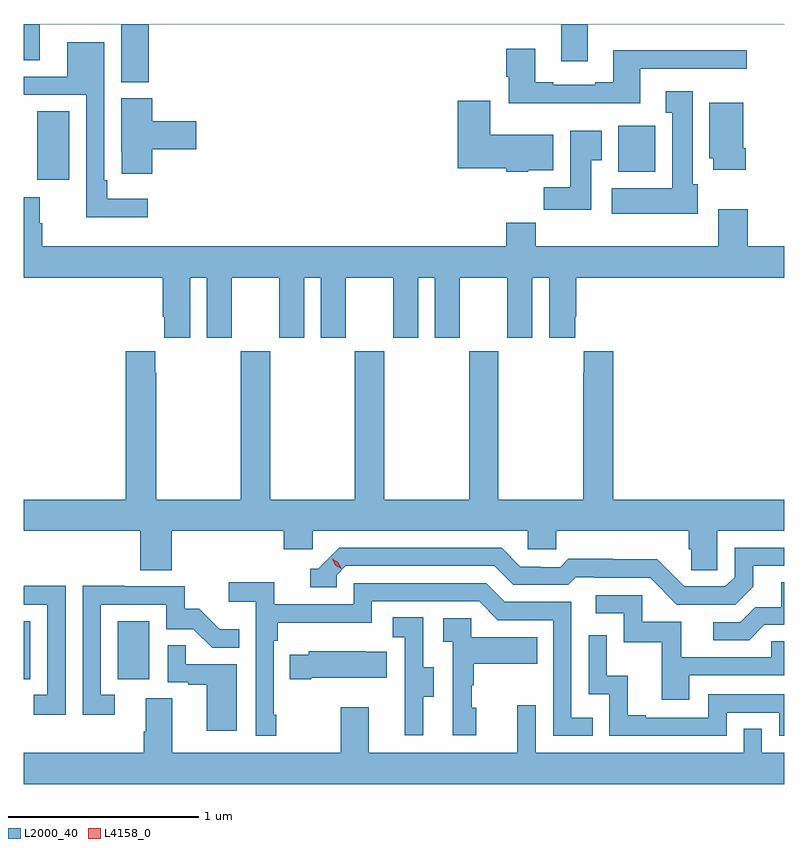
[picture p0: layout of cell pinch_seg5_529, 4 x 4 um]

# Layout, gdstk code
import gdstk
lib = gdstk.Library(unit=1e-6, precision=1e-09)
def R(c, l, rs):  # rectangles x0, y0, x1, y1
    for r in rs: c.add(gdstk.rectangle(r[:2], r[2:], *l))
def P(c, l, *ps):  # polygons
    for p in ps: c.add(gdstk.Polygon(p, *l))
L2000_40 = (2000, 40)
L4158_0 = (4158, 0)

pinch_seg5_529 = lib.new_cell('pinch_seg5_529')
R(pinch_seg5_529, L2000_40, [(956.477,838.662,956.512,838.969), (956.972,838.662,957.136,838.969), (956.549,841.29,956.716,841.652), (959.603,841.334,959.8,841.576)])
P(pinch_seg5_529, L2000_40, [(959.303,841.914),(959.443,841.914),(959.443,842.108),(960.477,842.108),(960.477,842.11),(956.477,842.11),(956.477,841.918),(956.56,841.918),(956.56,842.108),(956.99,842.108),(956.99,841.804),(957.134,841.804),(957.134,842.108),(959.303,842.108)],
  [(957.13,841.192),(956.917,841.192),(956.917,841.288),(956.901,841.288),(956.901,842.014),(956.705,842.014),(956.705,841.833),(956.477,841.833),(956.477,841.737),(956.805,841.737),(956.805,841.094),(957.13,841.094)],
  [(959.719,841.875),(960.28,841.875),(960.28,841.972),(959.579,841.972),(959.579,841.804),(959.483,841.804),(959.483,841.791),(959.263,841.791),(959.263,841.804),(959.167,841.804),(959.167,841.981),(959.015,841.981),(959.015,841.833),(959.027,841.833),(959.027,841.694),(959.719,841.694)],
  [(960.022,841.266),(959.995,841.266),(959.995,841.756),(959.855,841.756),(959.855,841.643),(959.888,841.643),(959.888,841.246),(959.571,841.246),(959.571,841.112),(960.022,841.112)],
  [(957.152,841.451),(957.385,841.451),(957.385,841.598),(957.152,841.598),(957.152,841.719),(956.99,841.719),(956.99,841.435),(956.991,841.435),(956.991,841.323),(957.152,841.323)],
  [(959.13,841.34),(959.263,841.34),(959.263,841.528),(958.93,841.528),(958.93,841.705),(958.76,841.705),(958.76,841.352),(959.016,841.352),(959.016,841.334),(959.13,841.334)],
  [(960.275,841.456),(960.262,841.456),(960.262,841.696),(960.083,841.696),(960.083,841.404),(960.104,841.404),(960.104,841.344),(960.275,841.344)],
  [(959.461,841.393),(959.518,841.393),(959.518,841.549),(959.351,841.549),(959.351,841.252),(959.212,841.252),(959.212,841.134),(959.461,841.134)],
  [(957.352,840.776),(957.44,840.776),(957.44,840.459),(957.571,840.459),(957.571,840.776),(957.821,840.776),(957.821,840.459),(957.952,840.459),(957.952,840.776),(958.04,840.776),(958.04,840.459),(958.171,840.459),(958.171,840.776),(958.421,840.776),(958.421,840.459),(958.552,840.459),(958.552,840.776),(958.64,840.776),(958.64,840.459),(958.771,840.459),(958.771,840.776),(959.021,840.776),(959.021,840.459),(959.152,840.459),(959.152,840.776),(959.24,840.776),(959.24,840.459),(959.377,840.459),(959.377,840.571),(959.384,840.571),(959.384,840.776),(960.477,840.776),(960.477,840.94),(960.284,840.94),(960.284,841.135),(960.131,841.135),(960.131,840.94),(959.171,840.94),(959.171,841.064),(959.015,841.064),(959.015,840.94),(956.573,840.94),(956.573,841.061),(956.56,841.061),(956.56,841.198),(956.477,841.198),(956.477,840.776),(957.209,840.776),(957.209,840.571),(957.215,840.571),(957.215,840.459),(957.352,840.459)],
  [(957.254,839.444),(957.845,839.444),(957.845,839.346),(957.996,839.346),(957.996,839.444),(959.127,839.444),(959.127,839.346),(959.277,839.346),(959.277,839.444),(959.975,839.444),(959.975,839.346),(959.989,839.346),(959.989,839.236),(960.126,839.236),(960.126,839.444),(960.477,839.444),(960.477,839.608),(959.579,839.608),(959.579,840.388),(959.423,840.388),(959.423,840.275),(959.419,840.275),(959.419,839.608),(958.974,839.608),(958.974,840.388),(958.819,840.388),(958.819,839.608),(958.374,839.608),(958.374,840.388),(958.219,840.388),(958.219,839.608),(957.774,839.608),(957.774,840.388),(957.619,840.388),(957.619,839.608),(957.174,839.608),(957.174,840.275),(957.169,840.275),(957.169,840.388),(957.014,840.388),(957.014,839.608),(956.477,839.608),(956.477,839.444),(957.089,839.444),(957.089,839.236),(957.254,839.236)],
  [(960.313,839.149),(960.313,839.259),(960.477,839.259),(960.477,839.355),(960.216,839.355),(960.216,839.199),(960.168,839.151),(959.952,839.151),(959.81,839.293),(959.574,839.293),(959.574,839.296),(959.341,839.296),(959.299,839.253),(959.196,839.253),(959.196,839.256),(959.089,839.256),(958.99,839.355),(958.137,839.355),(958.026,839.244),(957.983,839.244),(957.983,839.148),(958.122,839.148),(958.122,839.211),(958.17,839.259),(958.953,839.259),(959.052,839.16),(959.341,839.16),(959.38,839.199),(959.479,839.199),(959.479,839.196),(959.772,839.196),(959.913,839.055),(960.219,839.055)],
  [(960.373,838.95),(960.477,838.95),(960.477,839.174),(960.461,839.174),(960.461,839.042),(960.326,839.042),(960.246,838.962),(960.105,838.962),(960.105,838.869),(960.292,838.869)],
  [(957.805,838.477),(957.792,838.477),(957.792,838.865),(957.812,838.865),(957.812,838.961),(958.308,838.961),(958.308,839.073),(958.872,839.073),(958.971,838.974),(959.262,838.974),(959.262,838.365),(959.471,838.365),(959.471,838.461),(959.358,838.461),(959.358,839.07),(959.008,839.07),(958.909,839.169),(958.212,839.169),(958.212,839.058),(957.794,839.058),(957.794,839.174),(957.555,839.174),(957.555,839.072),(957.696,839.072),(957.696,838.365),(957.805,838.365)],
  [(956.697,839.156),(956.479,839.156),(956.479,839.151),(956.477,839.151),(956.477,839.055),(956.601,839.055),(956.601,838.581),(956.529,838.581),(956.529,838.476),(956.697,838.476)],
  [(956.956,838.581),(956.883,838.581),(956.883,839.055),(957.225,839.055),(957.225,838.926),(957.369,838.926),(957.467,838.828),(957.611,838.828),(957.611,838.927),(957.507,838.927),(957.4,839.034),(957.324,839.034),(957.324,839.151),(957.005,839.151),(957.005,839.156),(956.787,839.156),(956.787,838.476),(956.956,838.476)],
  [(959.977,838.683),(960.477,838.683),(960.477,838.863),(960.409,838.863),(960.409,838.779),(959.935,838.779),(959.935,838.965),(959.73,838.965),(959.73,839.106),(959.487,839.106),(959.487,839.01),(959.634,839.01),(959.634,838.857),(959.833,838.857),(959.833,838.554),(959.977,838.554)],
  [(958.579,838.57),(958.633,838.57),(958.633,838.725),(958.578,838.725),(958.578,838.988),(958.419,838.988),(958.419,838.885),(958.482,838.885),(958.482,838.581),(958.481,838.581),(958.481,838.368),(958.579,838.368)],
  [(958.858,838.512),(958.833,838.512),(958.833,838.631),(958.843,838.631),(958.843,838.745),(959.177,838.745),(959.177,838.885),(958.83,838.885),(958.83,838.983),(958.683,838.983),(958.683,838.859),(958.734,838.859),(958.734,838.368),(958.858,838.368)],
  [(960.174,838.488),(960.45,838.488),(960.45,838.365),(960.477,838.365),(960.477,838.584),(960.078,838.584),(960.078,838.461),(959.749,838.461),(959.749,838.474),(959.654,838.474),(959.654,838.682),(959.544,838.682),(959.544,838.894),(959.448,838.894),(959.448,838.584),(959.556,838.584),(959.556,838.365),(960.174,838.365)],
  [(957.598,838.743),(957.329,838.743),(957.329,838.841),(957.234,838.841),(957.234,838.647),(957.341,838.647),(957.341,838.635),(957.44,838.635),(957.44,838.392),(957.598,838.392)],
  [(957.988,838.67),(958.385,838.67),(958.385,838.807),(958.277,838.807),(958.277,838.81),(957.975,838.81),(957.975,838.792),(957.877,838.792),(957.877,838.663),(957.988,838.663)],
  [(960.477,838.276),(960.36,838.276),(960.36,838.403),(960.264,838.403),(960.264,838.276),(959.169,838.276),(959.169,838.525),(959.072,838.525),(959.072,838.276),(958.291,838.276),(958.291,838.516),(958.144,838.516),(958.144,838.276),(957.259,838.276),(957.259,838.562),(957.119,838.562),(957.119,838.388),(957.107,838.388),(957.107,838.276),(956.477,838.276),(956.477,838.112),(960.477,838.112)])
P(pinch_seg5_529, L4158_0, [(958.146,839.245),(958.115,839.264),(958.099,839.297),(958.099,839.297),(958.099,839.297),(958.13,839.278),(958.146,839.245),(958.146,839.245)])

lib.write_gds('pinch_seg5_529.gds')
